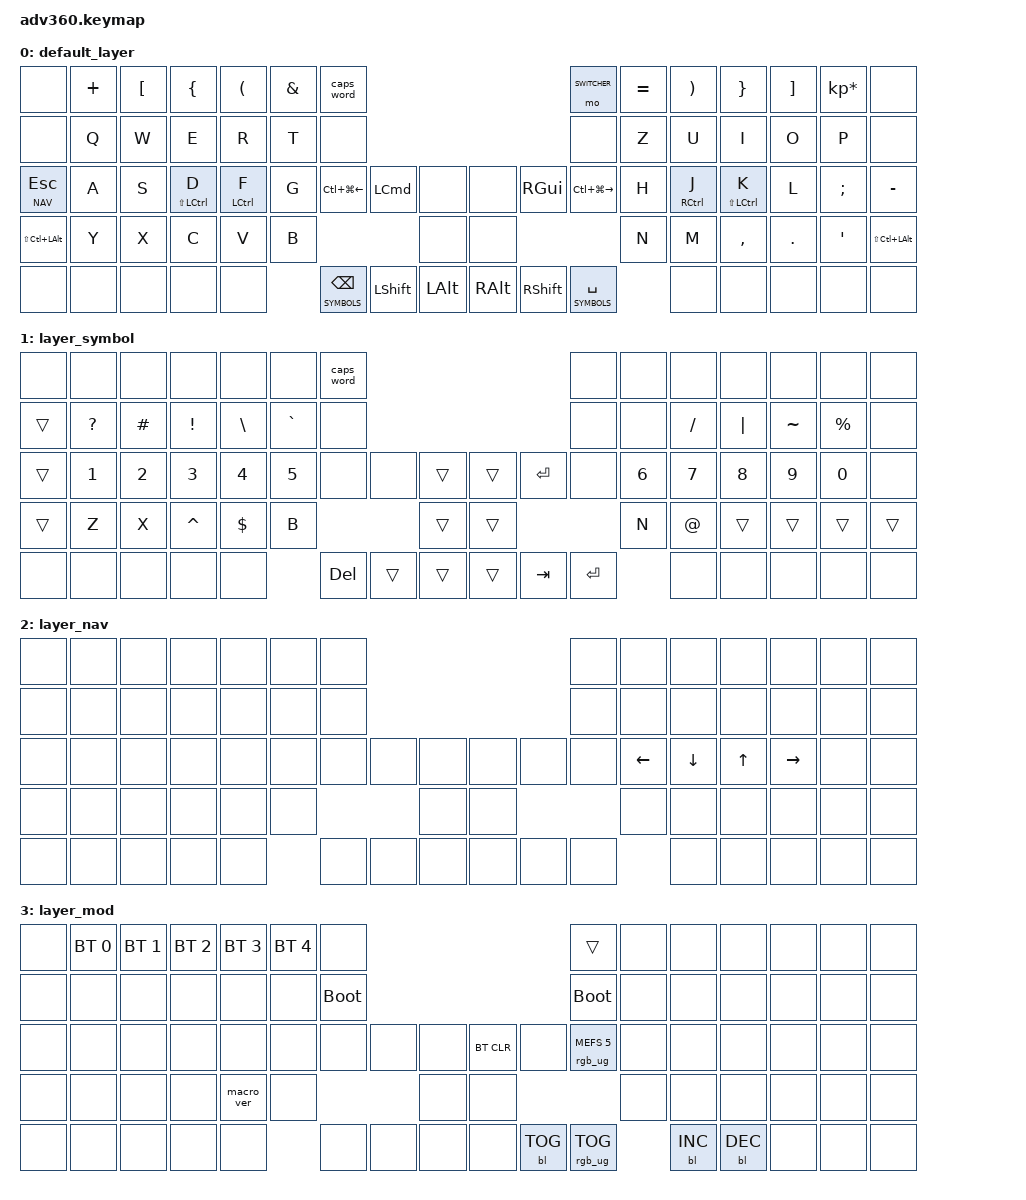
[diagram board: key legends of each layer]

/*
 * Copyright (c) 2020 The ZMK Contributors
 *
 * SPDX-License-Identifier: MIT
 */


/* THIS FILE WAS GENERATED!
 *
 * This file was generated automatically. You may or may not want to
 * edit it directly.
 */

#include <behaviors.dtsi>
#include <dt-bindings/zmk/keys.h>
#include <dt-bindings/zmk/bt.h>
#include <dt-bindings/zmk/rgb.h>
#include <dt-bindings/zmk/backlight.h>

#define HYPER LS(LC(LA(LCMD)))
#define MEH LS(LC(LEFT_ALT))
#define CTRLSHIFT LS(LCTRL)

#define WINDESKRIGHT LC(LG(RIGHT))
#define WINDESKLEFT LC(LG(LEFT))

#define DEFAULT 0
#define SYMBOLS 1
#define NAV 2
#define SWITCHER 3

/ {
  behaviors {
    #include "macros.dtsi"
    #include "version.dtsi"

    hm: homerow_mods {
        compatible = "zmk,behavior-hold-tap";
        label = "HOMEROW_MODS";
        #binding-cells = <2>;
        tapping-term-ms = <200>;
        quick_tap_ms = <175>;
        flavor = "tap-preferred";
        bindings = <&kp>, <&kp>;
    };
  };

    keymap {
        compatible = "zmk,keymap";


        default_layer {
            bindings = <
 &none        &kp PLUS  &kp LEFT_BRACKET  &kp LEFT_BRACE    &kp LEFT_PARENTHESIS  &kp AMPERSAND   &caps_word                                                            &mo SWITCHER       &kp EQUAL  &kp RIGHT_PARENTHESIS  &kp RIGHT_BRACE   &kp RIGHT_BRACKET  &kp KP_MULTIPLY  &none
 &none        &kp Q     &kp W             &kp E             &kp R                 &kp T           &none                                                                 &none              &kp Z      &kp U                  &kp I             &kp O              &kp P            &none
 &lt NAV ESC  &kp A     &kp S             &hm CTRLSHIFT D   &hm LCTRL F           &kp G           &kp WINDESKLEFT        &kp LCMD    &none     &none     &kp RIGHT_GUI  &kp WINDESKRIGHT   &kp H      &hm RCTRL J            &hm CTRLSHIFT K   &kp L              &kp SEMI         &kp MINUS
 &kp MEH      &kp Y     &kp X             &kp C             &kp V                 &kp B                                              &none     &none                                       &kp N      &kp M                  &kp COMMA         &kp DOT            &kp APOSTROPHE   &kp MEH
 &none        &none     &none             &none             &none                                 &lt SYMBOLS BACKSPACE  &kp LSHIFT  &kp LALT  &kp RALT  &kp RSHIFT     &lt SYMBOLS SPACE             &none                  &none             &none              &none            &none
            >;
        };

        layer_symbol {
            bindings = <
  &none     &none           &none       &none       &none           &none       &caps_word                                                  &none       &none    &none       &none        &none        &none         &none
 &trans     &kp QUESTION    &kp HASH    &kp EXCL    &kp BACKSLASH   &kp GRAVE   &none                                                       &none       &none    &kp SLASH   &kp PIPE     &kp TILDE    &kp PERCENT   &none
 &trans     &kp N1          &kp N2      &kp N3      &kp N4          &kp N5      &none         &none       &trans     &trans  &kp ENTER      &none       &kp N6   &kp N7      &kp N8       &kp N9       &kp N0        &none
 &trans     &kp Z           &kp X       &kp CARET   &kp DOLLAR      &kp B                                 &trans     &trans                             &kp N    &kp AT      &trans       &trans       &trans        &trans
  &none     &none           &none       &none       &none                       &kp DEL       &trans      &trans     &trans  &kp TAB        &kp ENTER            &none       &none        &none        &none         &none
            >;
        };

        layer_nav {
            bindings = <
 &none   &none   &none   &none   &none   &none   &none                                  &none   &none      &none      &none    &none       &none   &none
 &none   &none   &none   &none   &none   &none   &none                                  &none   &none      &none      &none    &none       &none   &none
 &none   &none   &none   &none   &none   &none   &none   &none   &none   &none  &none   &none   &kp LEFT   &kp DOWN   &kp UP   &kp RIGHT   &none   &none
 &none   &none   &none   &none   &none   &none                   &none   &none                  &none      &none      &none    &none       &none   &none
 &none   &none   &none   &none   &none           &none   &none   &none   &none  &none   &none              &none      &none    &none       &none   &none
            >;
        };


        layer_mod {
            bindings = <
  &none   &bt BT_SEL 0  &bt BT_SEL 1  &bt BT_SEL 2  &bt BT_SEL 3  &bt BT_SEL 4  &none                                                &trans                  &none       &none        &none       &none   &none   &none
  &none   &none         &none         &none         &none         &none         &bootloader                                          &bootloader             &none       &none        &none       &none   &none   &none
  &none   &none         &none         &none         &none         &none         &none        &none   &none   &bt BT_CLR  &none       &rgb_ug RGB_MEFS_CMD 5  &none       &none        &none       &none   &none   &none
  &none   &none         &none         &none         &macro_ver    &none                              &none   &none                                           &none       &none        &none       &none   &none   &none
  &none   &none         &none         &none         &none                       &none        &none   &none   &none       &bl BL_TOG  &rgb_ug RGB_TOG                     &bl BL_INC   &bl BL_DEC  &none   &none   &none
            >;
        };

    };
};
